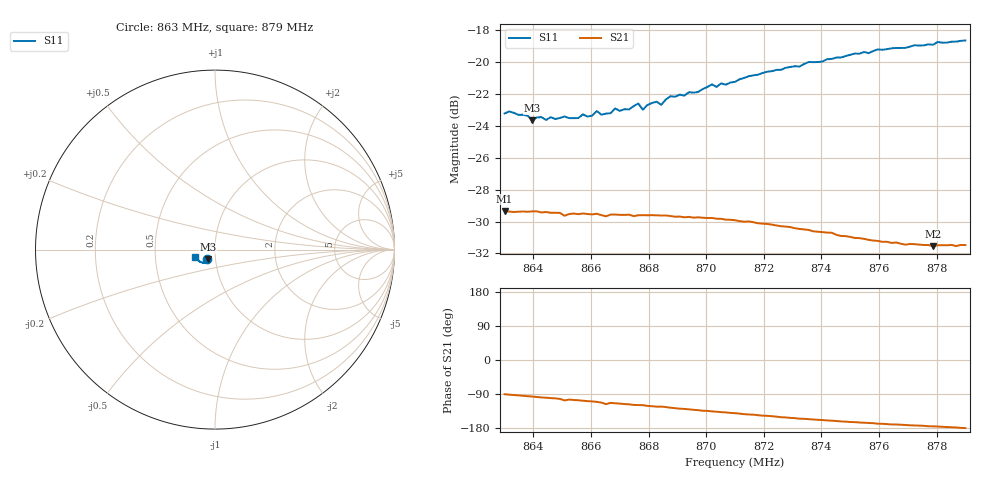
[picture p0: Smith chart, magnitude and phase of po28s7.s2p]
# HZ S RI R 50
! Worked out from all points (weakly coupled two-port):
!   101 points, 863 MHz to 879 MHz, reference 50 ohm
!   highest |S21| = -29.34 dB at 863 MHz (marker M1); lowest = -31.5 dB at 877.88 MHz (marker M2)
!   lowest |S11| = -23.6 dB at 863.96 MHz (marker M3), VSWR 1.14, Z = 46 - j4.9 ohm
!   |S11| at or under -10 dB: start of sweep to end of sweep
!   S12 and S22 are empty: the file has one direction only
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8.63e8  -0.0438 -0.0534  -0.000202 -0.0341  0 0  0 0
8.638e8  -0.0405 -0.0545  -0.0033 -0.0338  0 0  0 0
8.6396e8  -0.0389 -0.053  -0.00381 -0.0338  0 0  0 0
8.6428e8  -0.038 -0.0555  -0.00521 -0.0334  0 0  0 0
8.6556e8  -0.0362 -0.0562  -0.00936 -0.032  0 0  0 0
8.6572e8  -0.0358 -0.0585  -0.0101 -0.032  0 0  0 0
8.6604e8  -0.035 -0.0583  -0.011 -0.0314  0 0  0 0
8.662e8  -0.0382 -0.0591  -0.0117 -0.0313  0 0  0 0
8.6636e8  -0.0355 -0.0586  -0.0126 -0.0306  0 0  0 0
8.6668e8  -0.0347 -0.0599  -0.0131 -0.0306  0 0  0 0
8.6684e8  -0.0376 -0.061  -0.0136 -0.0303  0 0  0 0
8.6732e8  -0.0356 -0.0616  -0.015 -0.0296  0 0  0 0
8.6764e8  -0.037 -0.0643  -0.016 -0.029  0 0  0 0
8.678e8  -0.0342 -0.0622  -0.0161 -0.0289  0 0  0 0
8.6828e8  -0.0368 -0.0656  -0.0181 -0.0277  0 0  0 0
8.6844e8  -0.0348 -0.0648  -0.018 -0.0277  0 0  0 0
8.6876e8  -0.0387 -0.068  -0.0193 -0.0266  0 0  0 0
8.71e8  -0.0477 -0.0726  -0.0246 -0.0204  0 0  0 0
8.7372e8  -0.0675 -0.0739  -0.0271 -0.0115  0 0  0 0
8.7644e8  -0.0917 -0.0619  -0.0267 -0.00464  0 0  0 0
8.7788e8  -0.1024 -0.049  -0.0264 -0.00226  0 0  0 0
8.79e8  -0.1101 -0.0398  -0.0267 -0.000155  0 0  0 0
